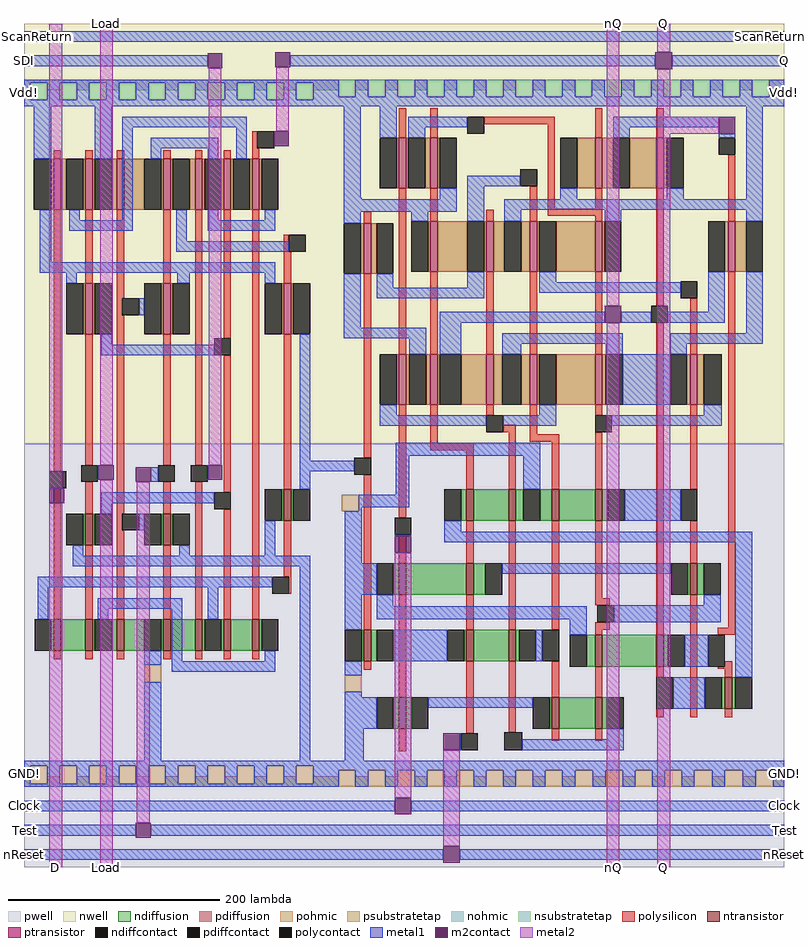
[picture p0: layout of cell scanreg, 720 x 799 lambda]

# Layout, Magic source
magic
tech c035u
<< nwell >>
rect 0 401 720 799
<< pwell >>
rect 0 0 720 401
<< polysilicon >>
rect 216 681 221 697
rect 355 691 362 719
rect 385 691 392 719
rect 436 704 503 711
rect 28 671 35 679
rect 58 671 65 679
rect 88 671 95 679
rect 132 671 139 679
rect 162 671 169 679
rect 189 671 196 679
rect 216 671 223 681
rect 28 375 35 623
rect 58 553 65 623
rect 88 539 95 623
rect 132 553 139 623
rect 88 523 93 539
rect 58 381 65 505
rect 28 235 35 359
rect 58 335 65 365
rect 88 335 95 523
rect 132 381 139 505
rect 162 381 169 623
rect 189 501 196 623
rect 132 335 139 365
rect 88 319 93 335
rect 58 235 65 305
rect 88 235 95 319
rect 132 235 139 305
rect 162 235 169 365
rect 189 355 196 485
rect 189 235 196 339
rect 216 235 223 623
rect 322 610 329 621
rect 246 583 251 599
rect 246 553 253 583
rect 246 358 253 505
rect 322 388 329 562
rect 355 486 362 643
rect 385 612 392 643
rect 438 612 445 623
rect 479 612 486 645
rect 496 624 503 704
rect 541 691 548 719
rect 599 691 606 719
rect 541 624 548 643
rect 496 617 548 624
rect 541 612 548 617
rect 385 486 392 564
rect 438 486 445 564
rect 479 486 486 564
rect 541 486 548 564
rect 599 532 606 643
rect 667 612 674 675
rect 246 275 253 328
rect 251 259 253 275
rect 322 225 329 372
rect 355 331 362 438
rect 385 402 392 438
rect 438 428 445 438
rect 454 412 466 419
rect 385 395 426 402
rect 419 358 426 395
rect 459 358 466 412
rect 479 410 486 438
rect 541 428 548 438
rect 479 403 507 410
rect 500 358 507 403
rect 541 358 548 412
rect 355 288 362 315
rect 419 288 426 328
rect 28 197 35 205
rect 58 197 65 205
rect 88 197 95 205
rect 132 197 139 205
rect 162 197 169 205
rect 189 197 196 205
rect 216 197 223 205
rect 322 187 329 195
rect 355 161 362 258
rect 419 225 426 258
rect 459 225 466 328
rect 500 225 507 328
rect 541 255 548 328
rect 541 248 555 255
rect 541 225 555 232
rect 541 220 548 225
rect 599 220 606 516
rect 631 486 638 539
rect 631 358 638 438
rect 631 288 638 328
rect 355 110 362 131
rect 419 127 426 195
rect 459 128 466 195
rect 500 161 507 195
rect 541 161 548 190
rect 599 180 606 190
rect 599 142 606 150
rect 631 142 638 258
rect 667 227 674 564
rect 657 220 674 227
rect 664 190 671 195
rect 657 188 671 190
rect 664 180 671 188
rect 664 142 671 150
rect 500 120 507 131
rect 541 120 548 131
<< ndiffusion >>
rect 56 305 58 335
rect 65 305 67 335
rect 130 305 132 335
rect 139 305 141 335
rect 244 328 246 358
rect 253 328 255 358
rect 26 205 28 235
rect 35 205 58 235
rect 65 205 67 235
rect 83 205 88 235
rect 95 205 114 235
rect 130 205 132 235
rect 139 205 162 235
rect 169 205 171 235
rect 187 205 189 235
rect 196 205 216 235
rect 223 205 225 235
rect 414 328 419 358
rect 426 328 459 358
rect 466 328 473 358
rect 489 328 500 358
rect 507 328 541 358
rect 548 328 553 358
rect 350 258 355 288
rect 362 258 419 288
rect 426 258 437 288
rect 320 195 322 225
rect 329 195 334 225
rect 417 195 419 225
rect 426 195 459 225
rect 466 195 469 225
rect 629 258 631 288
rect 638 258 644 288
rect 350 131 355 161
rect 362 131 367 161
rect 533 190 541 220
rect 548 190 599 220
rect 606 190 610 220
rect 498 131 500 161
rect 507 131 541 161
rect 548 131 552 161
rect 661 150 664 180
rect 671 150 674 180
<< pdiffusion >>
rect 26 623 28 671
rect 35 623 40 671
rect 56 623 58 671
rect 65 623 67 671
rect 83 623 88 671
rect 95 623 114 671
rect 130 623 132 671
rect 139 623 141 671
rect 157 623 162 671
rect 169 623 171 671
rect 187 623 189 671
rect 196 623 198 671
rect 214 623 216 671
rect 223 623 225 671
rect 353 643 355 691
rect 362 643 364 691
rect 380 643 385 691
rect 392 643 394 691
rect 56 505 58 553
rect 65 505 67 553
rect 130 505 132 553
rect 139 505 141 553
rect 319 562 322 610
rect 329 562 334 610
rect 244 505 246 553
rect 253 505 255 553
rect 524 643 541 691
rect 548 643 558 691
rect 574 643 599 691
rect 606 643 609 691
rect 383 564 385 612
rect 392 564 420 612
rect 436 564 438 612
rect 445 564 455 612
rect 471 564 479 612
rect 486 564 488 612
rect 504 564 541 612
rect 548 564 550 612
rect 664 564 667 612
rect 674 564 684 612
rect 353 438 355 486
rect 362 438 365 486
rect 381 438 385 486
rect 392 438 394 486
rect 414 438 438 486
rect 445 438 453 486
rect 471 438 479 486
rect 486 438 488 486
rect 504 438 541 486
rect 548 438 551 486
rect 628 438 631 486
rect 638 438 644 486
<< pohmic >>
rect 0 79 6 86
rect 22 79 34 86
rect 50 79 62 86
rect 78 79 90 86
rect 106 79 118 86
rect 134 79 146 86
rect 162 79 174 86
rect 190 79 202 86
rect 218 79 230 86
rect 246 79 258 86
rect 274 79 298 86
rect 0 76 298 79
rect 314 76 326 86
rect 342 76 354 86
rect 370 76 382 86
rect 398 76 410 86
rect 426 76 438 86
rect 454 76 466 86
rect 482 76 494 86
rect 510 76 522 86
rect 539 76 551 86
rect 567 76 579 86
rect 595 76 607 86
rect 623 76 635 86
rect 652 76 664 86
rect 681 76 693 86
rect 710 76 720 86
<< nohmic >>
rect 0 743 298 746
rect 0 736 6 743
rect 22 736 34 743
rect 50 736 62 743
rect 78 736 90 743
rect 106 736 118 743
rect 134 736 146 743
rect 162 736 174 743
rect 190 736 202 743
rect 218 736 230 743
rect 246 736 258 743
rect 274 736 298 743
rect 314 736 326 746
rect 342 736 354 746
rect 370 736 382 746
rect 398 736 410 746
rect 426 736 438 746
rect 454 736 466 746
rect 482 736 494 746
rect 510 736 522 746
rect 538 736 550 746
rect 566 736 578 746
rect 594 736 606 746
rect 622 736 634 746
rect 650 736 662 746
rect 678 736 690 746
rect 706 736 720 746
<< ntransistor >>
rect 58 305 65 335
rect 132 305 139 335
rect 246 328 253 358
rect 28 205 35 235
rect 58 205 65 235
rect 88 205 95 235
rect 132 205 139 235
rect 162 205 169 235
rect 189 205 196 235
rect 216 205 223 235
rect 419 328 426 358
rect 459 328 466 358
rect 500 328 507 358
rect 541 328 548 358
rect 355 258 362 288
rect 419 258 426 288
rect 322 195 329 225
rect 419 195 426 225
rect 459 195 466 225
rect 631 258 638 288
rect 355 131 362 161
rect 541 190 548 220
rect 599 190 606 220
rect 500 131 507 161
rect 541 131 548 161
rect 664 150 671 180
<< ptransistor >>
rect 28 623 35 671
rect 58 623 65 671
rect 88 623 95 671
rect 132 623 139 671
rect 162 623 169 671
rect 189 623 196 671
rect 216 623 223 671
rect 355 643 362 691
rect 385 643 392 691
rect 58 505 65 553
rect 132 505 139 553
rect 322 562 329 610
rect 246 505 253 553
rect 541 643 548 691
rect 599 643 606 691
rect 385 564 392 612
rect 438 564 445 612
rect 479 564 486 612
rect 541 564 548 612
rect 667 564 674 612
rect 355 438 362 486
rect 385 438 392 486
rect 438 438 445 486
rect 479 438 486 486
rect 541 438 548 486
rect 631 438 638 486
<< polycontact >>
rect 221 681 237 697
rect 420 695 436 711
rect 470 645 486 661
rect 93 523 109 539
rect 24 359 40 375
rect 54 365 70 381
rect 180 485 196 501
rect 127 365 143 381
rect 158 365 174 381
rect 93 319 109 335
rect 180 339 196 355
rect 251 583 267 599
rect 658 675 674 691
rect 622 539 638 555
rect 594 516 610 532
rect 313 372 329 388
rect 235 259 251 275
rect 438 412 454 428
rect 541 412 557 428
rect 351 315 367 331
rect 543 232 559 248
rect 491 195 507 225
rect 622 328 638 358
rect 599 150 615 180
rect 648 190 664 220
rect 414 111 430 127
rect 455 111 472 128
<< ndiffcontact >>
rect 40 305 56 335
rect 67 305 83 335
rect 114 305 130 335
rect 141 305 157 335
rect 228 328 244 358
rect 255 328 271 358
rect 10 205 26 235
rect 67 205 83 235
rect 114 205 130 235
rect 171 205 187 235
rect 225 205 241 235
rect 398 328 414 358
rect 473 328 489 358
rect 553 328 569 358
rect 334 258 350 288
rect 437 258 453 288
rect 304 195 320 225
rect 334 195 350 225
rect 401 195 417 225
rect 469 195 485 225
rect 613 258 629 288
rect 644 258 660 288
rect 334 131 350 161
rect 367 131 383 161
rect 517 190 533 220
rect 610 190 626 220
rect 482 131 498 161
rect 552 131 568 161
rect 645 150 661 180
rect 674 150 690 180
<< pdiffcontact >>
rect 9 623 26 671
rect 40 623 56 671
rect 67 623 83 671
rect 114 623 130 671
rect 141 623 157 671
rect 171 623 187 671
rect 198 623 214 671
rect 225 623 241 671
rect 337 643 353 691
rect 364 643 380 691
rect 394 643 410 691
rect 40 505 56 553
rect 67 505 83 553
rect 114 505 130 553
rect 141 505 157 553
rect 303 562 319 610
rect 334 562 350 610
rect 228 505 244 553
rect 255 505 271 553
rect 508 643 524 691
rect 558 643 574 691
rect 609 643 625 691
rect 367 564 383 612
rect 420 564 436 612
rect 455 564 471 612
rect 488 564 504 612
rect 550 564 566 612
rect 648 564 664 612
rect 684 564 700 612
rect 337 438 353 486
rect 365 438 381 486
rect 394 438 414 486
rect 453 438 471 486
rect 488 438 504 486
rect 551 438 567 486
rect 612 438 628 486
rect 644 438 661 486
<< psubstratetap >>
rect 301 337 317 353
rect 114 175 130 192
rect 304 166 320 182
rect 6 79 22 96
rect 34 79 50 96
rect 62 79 78 96
rect 90 79 106 96
rect 118 79 134 96
rect 146 79 162 96
rect 174 79 190 96
rect 202 79 218 96
rect 230 79 246 96
rect 258 79 274 96
rect 298 76 314 92
rect 326 76 342 92
rect 354 76 370 92
rect 382 76 398 92
rect 410 76 426 92
rect 438 76 454 92
rect 466 76 482 92
rect 494 76 510 92
rect 522 76 539 92
rect 551 76 567 92
rect 579 76 595 92
rect 607 76 623 92
rect 635 76 652 92
rect 664 76 681 92
rect 693 76 710 92
<< nsubstratetap >>
rect 6 727 22 743
rect 34 727 50 743
rect 62 727 78 743
rect 90 727 106 743
rect 118 727 134 743
rect 146 727 162 743
rect 174 727 190 743
rect 202 727 218 743
rect 230 727 246 743
rect 258 727 274 743
rect 298 730 314 746
rect 326 730 342 746
rect 354 730 370 746
rect 382 730 398 746
rect 410 730 426 746
rect 438 730 454 746
rect 466 730 482 746
rect 494 730 510 746
rect 522 730 538 746
rect 550 730 566 746
rect 578 730 594 746
rect 606 730 622 746
rect 634 730 650 746
rect 662 730 678 746
rect 690 730 706 746
<< metal1 >>
rect 0 782 720 792
rect 0 759 174 769
rect 252 759 598 769
rect 614 759 720 769
rect 0 743 298 746
rect 0 727 6 743
rect 22 727 34 743
rect 50 727 62 743
rect 78 727 90 743
rect 106 727 118 743
rect 134 727 146 743
rect 162 727 174 743
rect 190 727 202 743
rect 218 727 230 743
rect 246 727 258 743
rect 274 730 298 743
rect 314 730 326 746
rect 342 730 354 746
rect 370 730 382 746
rect 398 730 410 746
rect 426 730 438 746
rect 454 730 466 746
rect 482 730 494 746
rect 510 730 522 746
rect 538 730 550 746
rect 566 730 578 746
rect 594 730 606 746
rect 622 730 634 746
rect 650 730 662 746
rect 678 730 690 746
rect 706 730 720 746
rect 274 727 720 730
rect 0 721 720 727
rect 9 671 26 721
rect 67 671 83 721
rect 93 701 211 711
rect 15 573 26 623
rect 43 613 53 623
rect 93 613 103 701
rect 120 681 184 691
rect 120 671 130 681
rect 174 671 184 681
rect 201 671 211 701
rect 303 634 319 721
rect 337 691 353 721
rect 364 701 420 711
rect 364 691 380 701
rect 558 701 658 711
rect 558 691 574 701
rect 658 691 674 695
rect 303 633 320 634
rect 394 633 410 643
rect 43 603 103 613
rect 144 593 154 623
rect 174 613 184 623
rect 228 613 238 623
rect 174 603 238 613
rect 303 621 410 633
rect 420 645 470 655
rect 303 610 319 621
rect 367 612 383 621
rect 144 583 251 593
rect 15 563 238 573
rect 40 553 50 563
rect 145 553 157 563
rect 109 523 114 539
rect 228 553 238 563
rect 73 495 83 505
rect 73 485 180 495
rect 261 385 271 505
rect 303 511 319 562
rect 420 612 436 645
rect 508 633 524 643
rect 609 633 625 643
rect 684 633 700 721
rect 455 623 700 633
rect 455 612 471 623
rect 550 612 566 623
rect 684 612 700 623
rect 334 549 350 562
rect 420 549 436 564
rect 334 539 436 549
rect 488 554 504 564
rect 488 544 622 554
rect 394 516 550 526
rect 566 516 594 526
rect 648 526 664 564
rect 610 516 664 526
rect 303 501 381 511
rect 365 486 381 501
rect 394 486 414 516
rect 684 506 700 564
rect 453 496 567 506
rect 453 486 471 496
rect 551 486 567 496
rect 612 496 700 506
rect 612 486 628 496
rect 567 438 612 486
rect 337 428 353 438
rect 488 428 504 438
rect 644 428 661 438
rect 337 418 438 428
rect 454 418 504 428
rect 557 418 661 428
rect 352 390 489 402
rect 120 365 127 379
rect 261 375 313 385
rect 261 358 271 375
rect 73 345 180 355
rect 73 335 83 345
rect 109 319 114 335
rect 46 295 56 305
rect 147 295 157 305
rect 352 353 365 390
rect 473 358 489 390
rect 317 341 365 353
rect 317 337 320 341
rect 228 295 238 328
rect 46 285 271 295
rect 13 265 235 275
rect 13 235 23 265
rect 70 245 150 255
rect 70 235 80 245
rect 114 192 130 205
rect 140 195 150 245
rect 174 235 184 265
rect 228 195 238 205
rect 140 185 238 195
rect 114 101 130 175
rect 261 101 271 285
rect 304 288 320 337
rect 351 314 367 315
rect 569 328 622 358
rect 398 318 414 328
rect 398 308 690 318
rect 304 258 334 288
rect 453 278 613 288
rect 304 225 320 258
rect 334 247 350 258
rect 644 248 660 258
rect 334 235 533 247
rect 350 195 401 225
rect 485 195 491 225
rect 517 220 533 235
rect 559 232 660 248
rect 304 182 320 195
rect 626 190 648 220
rect 674 180 690 308
rect 304 161 320 166
rect 304 131 334 161
rect 383 151 482 161
rect 615 150 645 180
rect 304 101 322 131
rect 413 111 414 127
rect 552 121 568 131
rect 472 111 568 121
rect 0 96 720 101
rect 0 79 6 96
rect 22 79 34 96
rect 50 79 62 96
rect 78 79 90 96
rect 106 79 118 96
rect 134 79 146 96
rect 162 79 174 96
rect 190 79 202 96
rect 218 79 230 96
rect 246 79 258 96
rect 274 92 720 96
rect 274 79 298 92
rect 0 76 298 79
rect 314 76 326 92
rect 342 76 354 92
rect 370 76 382 92
rect 398 76 410 92
rect 426 76 438 92
rect 454 76 466 92
rect 482 76 494 92
rect 510 76 522 92
rect 539 76 551 92
rect 567 76 579 92
rect 595 76 607 92
rect 623 76 635 92
rect 652 76 664 92
rect 681 76 693 92
rect 710 76 720 92
rect 0 53 351 63
rect 367 53 720 63
rect 0 30 106 40
rect 120 30 720 40
rect 0 7 397 17
rect 413 7 720 17
<< m2contact >>
rect 174 757 188 771
rect 238 758 252 772
rect 598 756 614 772
rect 237 683 251 697
rect 658 695 674 711
rect 550 516 566 532
rect 70 367 85 381
rect 106 365 120 379
rect 174 367 188 381
rect 24 345 38 359
rect 351 298 367 314
rect 397 111 413 127
rect 351 50 367 66
rect 106 28 120 42
rect 397 4 413 20
<< metal2 >>
rect 24 359 36 799
rect 72 381 84 799
rect 175 743 187 757
rect 174 727 187 743
rect 175 381 187 727
rect 239 697 251 758
rect 552 532 564 799
rect 600 772 612 799
rect 600 711 612 756
rect 600 695 658 711
rect 24 0 36 345
rect 72 0 84 367
rect 107 42 119 365
rect 351 66 367 298
rect 397 20 413 111
rect 552 0 564 516
rect 600 0 612 695
<< labels >>
rlabel metal1 0 782 0 792 3 ScanReturn
rlabel metal1 0 759 0 769 3 SDI
rlabel metal1 0 721 0 746 3 Vdd!
rlabel metal2 24 799 36 799 5 D
rlabel metal1 0 76 0 101 3 GND!
rlabel metal1 0 30 0 40 3 Test
rlabel metal1 0 7 0 17 2 nReset
rlabel metal1 0 53 0 63 3 Clock
rlabel metal2 24 0 36 0 1 D
rlabel metal2 72 0 84 0 1 Load
rlabel metal2 72 799 84 799 5 Load
rlabel metal1 720 782 720 792 7 ScanReturn
rlabel metal1 720 759 720 769 7 Q
rlabel metal1 720 76 720 101 7 GND!
rlabel metal1 720 53 720 63 7 Clock
rlabel metal1 720 30 720 40 7 Test
rlabel metal1 720 7 720 17 7 nReset
rlabel metal1 720 721 720 746 7 Vdd!
rlabel metal2 552 0 564 0 1 nQ
rlabel metal2 600 0 612 0 1 Q
rlabel metal2 600 799 612 799 5 Q
rlabel metal2 552 799 564 799 5 nQ
<< end >>
